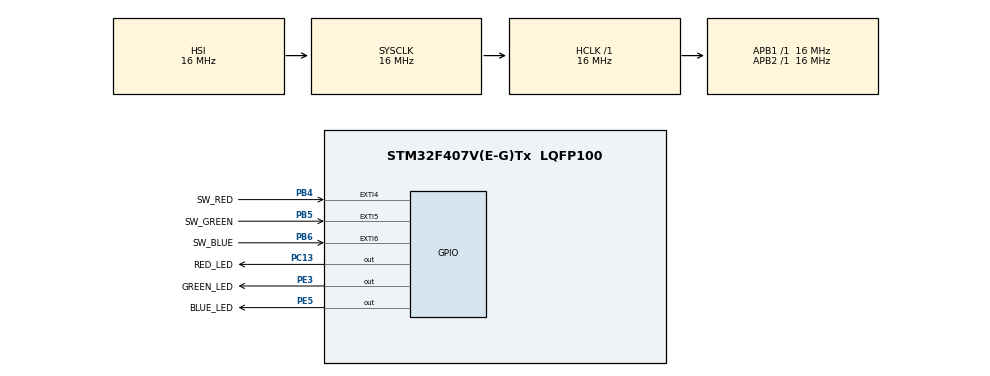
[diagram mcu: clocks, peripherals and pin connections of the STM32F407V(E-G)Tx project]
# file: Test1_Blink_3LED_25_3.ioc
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Mcu.Family=STM32F4
Mcu.Name=STM32F407V(E-G)Tx
Mcu.Package=LQFP100
NVIC.EXTI9_5_IRQn=true\:0\:0\:false\:false\:true\:true\:true
NVIC.PriorityGroup=NVIC_PRIORITYGROUP_4
PA13.Mode=Serial_Wire
PA13.Signal=SYS_JTMS-SWDIO
PA14.Mode=Serial_Wire
PA14.Signal=SYS_JTCK-SWCLK
PB4.GPIO_Label=SW_RED
PB4.GPIO_ModeDefaultEXTI=GPIO_MODE_IT_RISING_FALLING
PB4.Signal=GPXTI4
PB5.GPIO_Label=SW_GREEN
PB5.GPIO_ModeDefaultEXTI=GPIO_MODE_IT_RISING_FALLING
PB5.Signal=GPXTI5
PB6.GPIO_Label=SW_BLUE
PB6.GPIO_ModeDefaultEXTI=GPIO_MODE_IT_RISING_FALLING
PB6.Signal=GPXTI6
PC13-ANTI_TAMP.GPIO_Label=RED_LED
PC13-ANTI_TAMP.PinState=GPIO_PIN_SET
PC13-ANTI_TAMP.Signal=GPIO_Output
PC14-OSC32_IN.Mode=LSE-External-Oscillator
PC14-OSC32_IN.Signal=RCC_OSC32_IN
PC15-OSC32_OUT.Mode=LSE-External-Oscillator
PC15-OSC32_OUT.Signal=RCC_OSC32_OUT
PE3.GPIO_Label=GREEN_LED
PE3.PinState=GPIO_PIN_SET
PE3.Signal=GPIO_Output
PE5.GPIO_Label=BLUE_LED
PE5.PinState=GPIO_PIN_SET
PE5.Signal=GPIO_Output
PH0-OSC_IN.Mode=HSE-External-Oscillator
PH0-OSC_IN.Signal=RCC_OSC_IN
PH1-OSC_OUT.Mode=HSE-External-Oscillator
PH1-OSC_OUT.Signal=RCC_OSC_OUT
ProjectManager.HeapSize=0x200
ProjectManager.StackSize=0x400
ProjectManager.TargetToolchain=STM32CubeIDE
RCC.48MHZClocksFreq_Value=24000000
RCC.AHBFreq_Value=16000000
RCC.APB1Freq_Value=16000000
RCC.APB2Freq_Value=16000000
RCC.CortexFreq_Value=16000000
RCC.HSE_VALUE=8000000
RCC.HSI_VALUE=16000000
RCC.PLLSourceVirtual=RCC_PLLSOURCE_HSE
RCC.SYSCLKFreq_VALUE=16000000
RCC.VCOOutputFreq_Value=96000000
board=custom

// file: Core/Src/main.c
/* USER CODE BEGIN Header */
/**
  ******************************************************************************
  * @file           : main.c
  * @brief          : Main program body
  ******************************************************************************
  * @attention
  *
  * <h2><center>&copy; Copyright (c) 2021 STMicroelectronics.
  * All rights reserved.</center></h2>
  *
  * This software component is licensed by ST under BSD 3-Clause license,
  * the "License"; You may not use this file except in compliance with the
  * License. You may obtain a copy of the License at:
  *                        opensource.org/licenses/BSD-3-Clause
  *
  ******************************************************************************
  */
/* USER CODE END Header */
#include "main.h"
#include "gpio.h"

void SystemClock_Config(void);

/* USER CODE BEGIN 0 */
void HAL_GPIO_EXTI_Callback(uint16_t GPIO_Pin)
{
	switch(GPIO_Pin)
	{
	case SW_RED:
	{
		if(HAL_GPIO_ReadPin(GPIOB,GPIO_PIN_4))
		{
			RED_ON();
		}
		else
		{
			RED_OFF();
		}
		break;
	}
	case SW_BLUE:if(HAL_GPIO_ReadPin(GPIOB,GPIO_PIN_6))
					BLUE_ON;
			  else	BLUE_OFF;
			  break;
	case SW_GREEN:if(HAL_GPIO_ReadPin(GPIOB,GPIO_PIN_5))
					GREEN_ON;
			   else	GREEN_OFF;
			   break;
	}
}

/* USER CODE END 0 */

int main(void)
{

  /* MCU Configuration--------------------------------------------------------*/

  /* Reset of all peripherals, Initializes the Flash interface and the Systick. */
  HAL_Init();

  /* Configure the system clock */
  SystemClock_Config();

  /* Initialize all configured peripherals */
  MX_GPIO_Init();

  /* Infinite loop */
  while (1)
  {

    /* USER CODE BEGIN 3 */
	  RED_ON();
	  HAL_Delay(50);
	  RED_OFF();
	  BLUE_ON();
	  HAL_Delay(50);
	  BLUE_OFF();
	  GREEN_ON();
	  HAL_Delay(50);
	  GREEN_OFF();
  }
  /* USER CODE END 3 */
}

void SystemClock_Config(void)
{
  RCC_OscInitTypeDef RCC_OscInitStruct = {0};
  RCC_ClkInitTypeDef RCC_ClkInitStruct = {0};

  /** Configure the main internal regulator output voltage
  */
  __HAL_RCC_PWR_CLK_ENABLE();
  __HAL_PWR_VOLTAGESCALING_CONFIG(PWR_REGULATOR_VOLTAGE_SCALE1);
  /** Initializes the RCC Oscillators according to the specified parameters
  * in the RCC_OscInitTypeDef structure.
  */
  RCC_OscInitStruct.OscillatorType = RCC_OSCILLATORTYPE_HSI;
  RCC_OscInitStruct.HSIState = RCC_HSI_ON;
  RCC_OscInitStruct.HSICalibrationValue = RCC_HSICALIBRATION_DEFAULT;
  RCC_OscInitStruct.PLL.PLLState = RCC_PLL_NONE;
  if (HAL_RCC_OscConfig(&RCC_OscInitStruct) != HAL_OK)
  {
    Error_Handler();
  }
  /** Initializes the CPU, AHB and APB buses clocks
  */
  RCC_ClkInitStruct.ClockType = RCC_CLOCKTYPE_HCLK|RCC_CLOCKTYPE_SYSCLK
                              |RCC_CLOCKTYPE_PCLK1|RCC_CLOCKTYPE_PCLK2;
  RCC_ClkInitStruct.SYSCLKSource = RCC_SYSCLKSOURCE_HSI;
  RCC_ClkInitStruct.AHBCLKDivider = RCC_SYSCLK_DIV1;
  RCC_ClkInitStruct.APB1CLKDivider = RCC_HCLK_DIV1;
  RCC_ClkInitStruct.APB2CLKDivider = RCC_HCLK_DIV1;

  if (HAL_RCC_ClockConfig(&RCC_ClkInitStruct, FLASH_LATENCY_0) != HAL_OK)
  {
    Error_Handler();
  }
}

/* USER CODE BEGIN 4 */
void HAL_GPIO_EXTI_IRQHandler(uint16_t GPIO_Pin)
{
  /* EXTI line interrupt detected */
  if(__HAL_GPIO_EXTI_GET_IT(GPIO_Pin) != RESET)
  {
    __HAL_GPIO_EXTI_CLEAR_IT(GPIO_Pin);
    HAL_GPIO_EXTI_Callback(GPIO_Pin);
  }
}
/* USER CODE END 4 */

void Error_Handler(void)
{
  __disable_irq();
  while (1)
  {
  }
}

/************************ (C) COPYRIGHT STMicroelectronics *****END OF FILE****/
